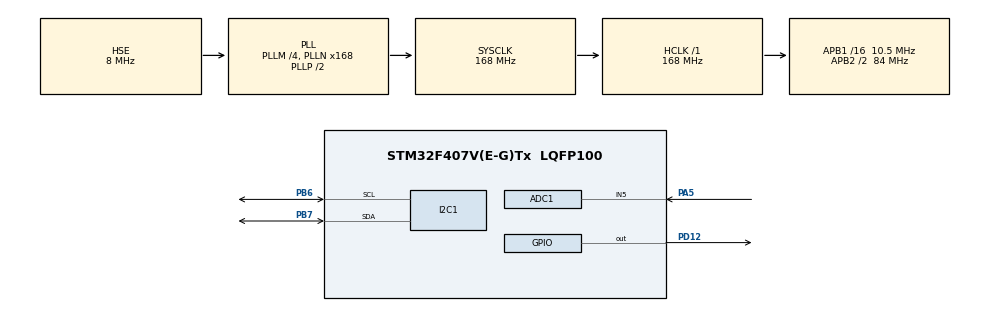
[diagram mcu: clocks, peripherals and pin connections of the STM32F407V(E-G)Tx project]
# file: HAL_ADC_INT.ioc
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ADC1.Channel-0\#ChannelRegularConversion=ADC_CHANNEL_5
ADC1.ClockPrescaler=ADC_CLOCK_SYNC_PCLK_DIV8
ADC1.NbrOfConversionFlag=1
ADC1.Rank-0\#ChannelRegularConversion=1
ADC1.SamplingTime-0\#ChannelRegularConversion=ADC_SAMPLETIME_3CYCLES
ADC1.master=1
I2C1.I2C_Mode=I2C_Fast
Mcu.Family=STM32F4
Mcu.Name=STM32F407V(E-G)Tx
Mcu.Package=LQFP100
NVIC.ADC_IRQn=true\:0\:0\:false\:false\:true\:true\:true\:true
NVIC.PriorityGroup=NVIC_PRIORITYGROUP_4
PA13.Mode=Serial_Wire
PA13.Signal=SYS_JTMS-SWDIO
PA14.Mode=Serial_Wire
PA14.Signal=SYS_JTCK-SWCLK
PA5.Signal=ADCx_IN5
PB6.Mode=I2C
PB6.Signal=I2C1_SCL
PB7.Mode=I2C
PB7.Signal=I2C1_SDA
PD12.Signal=GPIO_Output
PH0-OSC_IN.Mode=HSE-External-Oscillator
PH0-OSC_IN.Signal=RCC_OSC_IN
PH1-OSC_OUT.Mode=HSE-External-Oscillator
PH1-OSC_OUT.Signal=RCC_OSC_OUT
ProjectManager.HeapSize=0x200
ProjectManager.StackSize=0x400
ProjectManager.TargetToolchain=STM32CubeIDE
RCC.48MHZClocksFreq_Value=84000000
RCC.AHBFreq_Value=168000000
RCC.APB1CLKDivider=RCC_HCLK_DIV16
RCC.APB1Freq_Value=10500000
RCC.APB1TimFreq_Value=21000000
RCC.APB2CLKDivider=RCC_HCLK_DIV2
RCC.APB2Freq_Value=84000000
RCC.APB2TimFreq_Value=168000000
RCC.CortexFreq_Value=168000000
RCC.HCLKFreq_Value=168000000
RCC.HSE_VALUE=8000000
RCC.HSI_VALUE=16000000
RCC.LSE_VALUE=32768
RCC.PLLM=4
RCC.PLLN=168
RCC.PLLSourceVirtual=RCC_PLLSOURCE_HSE
RCC.SYSCLKFreq_VALUE=168000000
RCC.SYSCLKSource=RCC_SYSCLKSOURCE_PLLCLK
RCC.VCOOutputFreq_Value=336000000
SH.ADCx_IN5.0=ADC1_IN5,IN5
board=custom

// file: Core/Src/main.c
/* USER CODE BEGIN Header */
/**
 ******************************************************************************
 * @file           : main.c
 * @brief          : Main program body
 ******************************************************************************
 * @attention
 *
 * Copyright (c) 2024 STMicroelectronics.
 * All rights reserved.
 *
 * This software is licensed under terms that can be found in the LICENSE file
 * in the root directory of this software component.
 * If no LICENSE file comes with this software, it is provided AS-IS.
 *
 ******************************************************************************
 */
/* USER CODE END Header */
#include "main.h"

/* USER CODE BEGIN Includes */
#include "string.h"
#include  "stdio.h"
#include "ssd1306.h"
#include "fonts.h"
#include "float_to_char.h"
/* USER CODE END Includes */

ADC_HandleTypeDef hadc1;

I2C_HandleTypeDef hi2c1;

/* USER CODE BEGIN PV */
volatile uint16_t ADC_Data = 0;
/* USER CODE END PV */

void SystemClock_Config(void);
static void MX_GPIO_Init(void);
static void MX_ADC1_Init(void);
static void MX_I2C1_Init(void);

int main(void) {
	/* USER CODE BEGIN 1 */
	char str[9] = { 0 };
//	char TEST[] = "TEST";
	float u;
	/* USER CODE END 1 */

	/* MCU Configuration--------------------------------------------------------*/

	/* Reset of all peripherals, Initializes the Flash interface and the Systick. */
	HAL_Init();

	/* Configure the system clock */
	SystemClock_Config();

	/* Initialize all configured peripherals */
	MX_GPIO_Init();
	MX_ADC1_Init();
	MX_I2C1_Init();
	/* USER CODE BEGIN 2 */
	HAL_ADC_Start_IT(&hadc1);
	SSD1306_Init(hi2c1);
	/* USER CODE END 2 */

	/* Infinite loop */
	/* USER CODE BEGIN WHILE */
	while (1) {
		u = ((float) ADC_Data) * 3 / 4096;

		float_to_char((uint8_t*) &str, u, 5);

		SSD1306_GotoXY(35, 0);

		SSD1306_Puts(str, &Font_11x18, 1);

		SSD1306_UpdateScreen(hi2c1);

		HAL_Delay(200);
		/* USER CODE END WHILE */

	}
}

void SystemClock_Config(void) {
	RCC_OscInitTypeDef RCC_OscInitStruct = { 0 };
	RCC_ClkInitTypeDef RCC_ClkInitStruct = { 0 };

	/** Configure the main internal regulator output voltage
	 */
	__HAL_RCC_PWR_CLK_ENABLE();
	__HAL_PWR_VOLTAGESCALING_CONFIG(PWR_REGULATOR_VOLTAGE_SCALE1);

	/** Initializes the RCC Oscillators according to the specified parameters
	 * in the RCC_OscInitTypeDef structure.
	 */
	RCC_OscInitStruct.OscillatorType = RCC_OSCILLATORTYPE_HSE;
	RCC_OscInitStruct.HSEState = RCC_HSE_ON;
	RCC_OscInitStruct.PLL.PLLState = RCC_PLL_ON;
	RCC_OscInitStruct.PLL.PLLSource = RCC_PLLSOURCE_HSE;
	RCC_OscInitStruct.PLL.PLLM = 4;
	RCC_OscInitStruct.PLL.PLLN = 168;
	RCC_OscInitStruct.PLL.PLLP = RCC_PLLP_DIV2;
	RCC_OscInitStruct.PLL.PLLQ = 4;
	if (HAL_RCC_OscConfig(&RCC_OscInitStruct) != HAL_OK) {
		Error_Handler();
	}

	/** Initializes the CPU, AHB and APB buses clocks
	 */
	RCC_ClkInitStruct.ClockType = RCC_CLOCKTYPE_HCLK | RCC_CLOCKTYPE_SYSCLK
			| RCC_CLOCKTYPE_PCLK1 | RCC_CLOCKTYPE_PCLK2;
	RCC_ClkInitStruct.SYSCLKSource = RCC_SYSCLKSOURCE_PLLCLK;
	RCC_ClkInitStruct.AHBCLKDivider = RCC_SYSCLK_DIV1;
	RCC_ClkInitStruct.APB1CLKDivider = RCC_HCLK_DIV16;
	RCC_ClkInitStruct.APB2CLKDivider = RCC_HCLK_DIV2;

	if (HAL_RCC_ClockConfig(&RCC_ClkInitStruct, FLASH_LATENCY_5) != HAL_OK) {
		Error_Handler();
	}
}

static void MX_ADC1_Init(void) {

	ADC_ChannelConfTypeDef sConfig = { 0 };

	/** Configure the global features of the ADC (Clock, Resolution, Data Alignment and number of conversion)
	 */
	hadc1.Instance = ADC1;
	hadc1.Init.ClockPrescaler = ADC_CLOCK_SYNC_PCLK_DIV8;
	hadc1.Init.Resolution = ADC_RESOLUTION_12B;
	hadc1.Init.ScanConvMode = DISABLE;
	hadc1.Init.ContinuousConvMode = DISABLE;
	hadc1.Init.DiscontinuousConvMode = DISABLE;
	hadc1.Init.ExternalTrigConvEdge = ADC_EXTERNALTRIGCONVEDGE_NONE;
	hadc1.Init.ExternalTrigConv = ADC_SOFTWARE_START;
	hadc1.Init.DataAlign = ADC_DATAALIGN_RIGHT;
	hadc1.Init.NbrOfConversion = 1;
	hadc1.Init.DMAContinuousRequests = DISABLE;
	hadc1.Init.EOCSelection = ADC_EOC_SINGLE_CONV;
	if (HAL_ADC_Init(&hadc1) != HAL_OK) {
		Error_Handler();
	}

	/** Configure for the selected ADC regular channel its corresponding rank in the sequencer and its sample time.
	 */
	sConfig.Channel = ADC_CHANNEL_5;
	sConfig.Rank = 1;
	sConfig.SamplingTime = ADC_SAMPLETIME_3CYCLES;
	if (HAL_ADC_ConfigChannel(&hadc1, &sConfig) != HAL_OK) {
		Error_Handler();
	}

}

static void MX_I2C1_Init(void) {

	hi2c1.Instance = I2C1;
	hi2c1.Init.ClockSpeed = 400000;
	hi2c1.Init.DutyCycle = I2C_DUTYCYCLE_2;
	hi2c1.Init.OwnAddress1 = 0;
	hi2c1.Init.AddressingMode = I2C_ADDRESSINGMODE_7BIT;
	hi2c1.Init.DualAddressMode = I2C_DUALADDRESS_DISABLE;
	hi2c1.Init.OwnAddress2 = 0;
	hi2c1.Init.GeneralCallMode = I2C_GENERALCALL_DISABLE;
	hi2c1.Init.NoStretchMode = I2C_NOSTRETCH_DISABLE;
	if (HAL_I2C_Init(&hi2c1) != HAL_OK) {
		Error_Handler();
	}

}

static void MX_GPIO_Init(void) {
	GPIO_InitTypeDef GPIO_InitStruct = { 0 };

	/* GPIO Ports Clock Enable */
	__HAL_RCC_GPIOH_CLK_ENABLE();
	__HAL_RCC_GPIOA_CLK_ENABLE();
	__HAL_RCC_GPIOD_CLK_ENABLE();
	__HAL_RCC_GPIOB_CLK_ENABLE();

	/*Configure GPIO pin Output Level */
	HAL_GPIO_WritePin(GPIOD, GPIO_PIN_12, GPIO_PIN_RESET);

	/*Configure GPIO pin : PD12 */
	GPIO_InitStruct.Pin = GPIO_PIN_12;
	GPIO_InitStruct.Mode = GPIO_MODE_OUTPUT_PP;
	GPIO_InitStruct.Pull = GPIO_NOPULL;
	GPIO_InitStruct.Speed = GPIO_SPEED_FREQ_LOW;
	HAL_GPIO_Init(GPIOD, &GPIO_InitStruct);

}

/* USER CODE BEGIN 4 */
void HAL_ADC_ConvCpltCallback(ADC_HandleTypeDef *hadc1) {
	ADC_Data = HAL_ADC_GetValue(hadc1);
	HAL_GPIO_TogglePin(GPIOD, GPIO_PIN_12);
//	HAL_ADC_Start_IT(hadc1);// запускаю аналогово-цифровое преобразование
}
/* USER CODE END 4 */

void Error_Handler(void) {
	__disable_irq();
	while (1) {
	}
}
